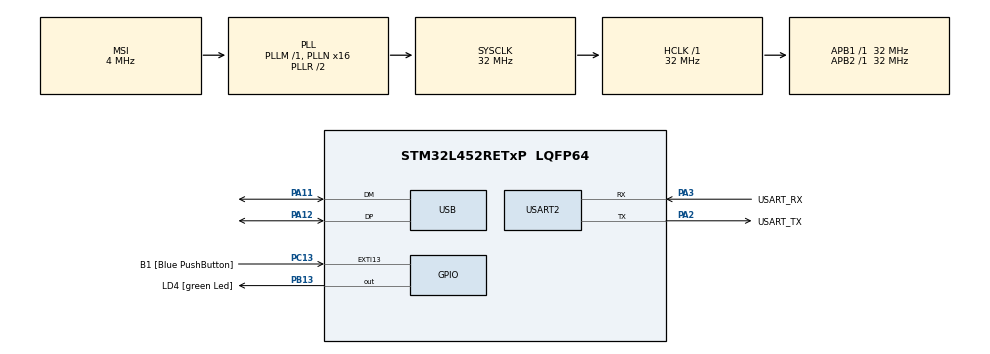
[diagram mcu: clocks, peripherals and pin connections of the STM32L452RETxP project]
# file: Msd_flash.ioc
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Mcu.Family=STM32L4
Mcu.Name=STM32L452RETxP
Mcu.Package=LQFP64
NVIC.PriorityGroup=NVIC_PRIORITYGROUP_4
NVIC.USB_IRQn=true\:0\:0\:false\:false\:true\:false
PA11.Mode=Device
PA11.Signal=USB_DM
PA12.Mode=Device
PA12.Signal=USB_DP
PA13\ (JTMS/SWDIO).GPIO_Label=TMS
PA13\ (JTMS/SWDIO).Mode=Serial_Wire
PA13\ (JTMS/SWDIO).Signal=SYS_JTMS-SWDIO
PA14\ (JTCK/SWCLK).GPIO_Label=TCK
PA14\ (JTCK/SWCLK).Mode=Serial_Wire
PA14\ (JTCK/SWCLK).Signal=SYS_JTCK-SWCLK
PA2.GPIO_Label=USART_TX
PA2.GPIO_Mode=GPIO_MODE_AF_PP
PA2.GPIO_PuPd=GPIO_NOPULL
PA2.GPIO_Speed=GPIO_SPEED_FREQ_VERY_HIGH
PA2.Mode=Asynchronous
PA2.Signal=USART2_TX
PA3.GPIO_Label=USART_RX
PA3.GPIO_Mode=GPIO_MODE_AF_PP
PA3.GPIO_PuPd=GPIO_NOPULL
PA3.GPIO_Speed=GPIO_SPEED_FREQ_VERY_HIGH
PA3.Mode=Asynchronous
PA3.Signal=USART2_RX
PB13.GPIO_Label=LD4 [green Led]
PB13.Signal=GPIO_Output
PB3\ (JTDO/TRACESWO).GPIO_Label=SWO
PB3\ (JTDO/TRACESWO).Signal=SYS_JTDO-SWO
PC13.GPIO_Label=B1 [Blue PushButton]
PC13.GPIO_ModeDefaultEXTI=GPIO_MODE_IT_FALLING
PC13.GPIO_PuPd=GPIO_NOPULL
PC13.Signal=GPXTI13
PC14-OSC32_IN\ (PC14).Mode=LSE-External-Oscillator
PC14-OSC32_IN\ (PC14).Signal=RCC_OSC32_IN
PC15-OSC32_OUT\ (PC15).Mode=LSE-External-Oscillator
PC15-OSC32_OUT\ (PC15).Signal=RCC_OSC32_OUT
ProjectManager.HeapSize=0x800
ProjectManager.StackSize=0x1000
ProjectManager.TargetToolchain=TrueSTUDIO
RCC.ADCFreq_Value=48000000
RCC.AHBFreq_Value=32000000
RCC.APB1Freq_Value=32000000
RCC.APB1TimFreq_Value=32000000
RCC.APB2Freq_Value=32000000
RCC.APB2TimFreq_Value=32000000
RCC.CortexFreq_Value=32000000
RCC.HCLKFreq_Value=32000000
RCC.HSE_VALUE=8000000
RCC.HSI48_VALUE=48000000
RCC.HSI_VALUE=16000000
RCC.MSI_VALUE=4000000
RCC.PLLN=16
RCC.PLLSAI1N=24
RCC.PREFETCH_ENABLE=1
RCC.SYSCLKFreq_VALUE=32000000
RCC.SYSCLKSource=RCC_SYSCLKSOURCE_PLLCLK
RCC.USBFreq_Value=48000000
RCC.VCOOutputFreq_Value=64000000
USART2.Parity=PARITY_EVEN
USART2.VirtualMode-Asynchronous=VM_ASYNC
USB_DEVICE.CLASS_NAME_FS=MSC
USB_DEVICE.MANUFACTURER_STRING=VNIIA
USB_DEVICE.MSC_MEDIA_PACKET=512
USB_DEVICE.VirtualMode=Msc
USB_DEVICE.VirtualModeFS=Msc_FS
VP_FATFS_VS_Generic.Mode=User_defined
VP_USB_DEVICE_VS_USB_DEVICE_MSC_FS.Mode=MSC_FS
board=NUCLEO-L452RE-P

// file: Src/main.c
/* USER CODE BEGIN Header */
/**
  ******************************************************************************
  * @file           : main.c
  * @brief          : Main program body
  ******************************************************************************
  * This notice applies to any and all portions of this file
  * that are not between comment pairs USER CODE BEGIN and
  * USER CODE END. Other portions of this file, whether
  * inserted by the user or by software development tools
  * are owned by their respective copyright owners.
  *
  * Copyright (c) 2019 STMicroelectronics International N.V.
  * All rights reserved.
  *
  * Redistribution and use in source and binary forms, with or without
  * modification, are permitted, provided that the following conditions are met:
  *
  * 1. Redistribution of source code must retain the above copyright notice,
  *    this list of conditions and the following disclaimer.
  * 2. Redistributions in binary form must reproduce the above copyright notice,
  *    this list of conditions and the following disclaimer in the documentation
  *    and/or other materials provided with the distribution.
  * 3. Neither the name of STMicroelectronics nor the names of other
  *    contributors to this software may be used to endorse or promote products
  *    derived from this software without specific written permission.
  * 4. This software, including modifications and/or derivative works of this
  *    software, must execute solely and exclusively on microcontroller or
  *    microprocessor devices manufactured by or for STMicroelectronics.
  * 5. Redistribution and use of this software other than as permitted under
  *    this license is void and will automatically terminate your rights under
  *    this license.
  *
  * THIS SOFTWARE IS PROVIDED BY STMICROELECTRONICS AND CONTRIBUTORS "AS IS"
  * AND ANY EXPRESS, IMPLIED OR STATUTORY WARRANTIES, INCLUDING, BUT NOT
  * LIMITED TO, THE IMPLIED WARRANTIES OF MERCHANTABILITY, FITNESS FOR A
  * PARTICULAR PURPOSE AND NON-INFRINGEMENT OF THIRD PARTY INTELLECTUAL PROPERTY
  * RIGHTS ARE DISCLAIMED TO THE FULLEST EXTENT PERMITTED BY LAW. IN NO EVENT
  * SHALL STMICROELECTRONICS OR CONTRIBUTORS BE LIABLE FOR ANY DIRECT, INDIRECT,
  * INCIDENTAL, SPECIAL, EXEMPLARY, OR CONSEQUENTIAL DAMAGES (INCLUDING, BUT NOT
  * LIMITED TO, PROCUREMENT OF SUBSTITUTE GOODS OR SERVICES; LOSS OF USE, DATA,
  * OR PROFITS; OR BUSINESS INTERRUPTION) HOWEVER CAUSED AND ON ANY THEORY OF
  * LIABILITY, WHETHER IN CONTRACT, STRICT LIABILITY, OR TORT (INCLUDING
  * NEGLIGENCE OR OTHERWISE) ARISING IN ANY WAY OUT OF THE USE OF THIS SOFTWARE,
  * EVEN IF ADVISED OF THE POSSIBILITY OF SUCH DAMAGE.
  *
  ******************************************************************************
  */
/* USER CODE END Header */

#include "main.h"
#include "fatfs.h"
#include "usart.h"
#include "usb_device.h"
#include "gpio.h"

/* USER CODE BEGIN Includes */
#include "flash_work.h"
/* USER CODE END Includes */

void SystemClock_Config(void);
/* USER CODE BEGIN PFP */
void CopyAppToUserMemory(void);
void JumpToMainProgram(void);
void PeriphDeinit(void);
/* USER CODE END PFP */

/* USER CODE BEGIN 0 */
char str[80] = {0};
FRESULT FatFs_Status = FR_OK;
FSIZE_t appSize = 0;
uint8_t AppDataByte[512] = {0};
UINT readBytes = 0;
/* USER CODE END 0 */

int main(void)
{
  /* USER CODE BEGIN 1 */
int i=0;
  /* USER CODE END 1 */

  /* MCU Configuration--------------------------------------------------------*/

  /* Reset of all peripherals, Initializes the Flash interface and the Systick. */
  HAL_Init();

  /* Configure the system clock */
  SystemClock_Config();

  /* Initialize all configured peripherals */
  MX_GPIO_Init();
  MX_USART2_UART_Init();

  /* USER CODE BEGIN 2 */
  sprintf (str, "-----START LOG----- \n\r\n\r");
  HAL_UART_Transmit (&huart2, (uint8_t*)str, strlen(str), 1000);

  sprintf (str, "FLASH_START_ADDR: %#x \n\r", FLASH_START_ADDR);
  HAL_UART_Transmit (&huart2, (uint8_t*)str, strlen(str), 1000);
  sprintf (str, "FLASH_MAX_SIZE: %dKByte \n\r", FLASH_MAX_SIZE/1024);
  HAL_UART_Transmit (&huart2, (uint8_t*)str, strlen(str), 1000);
  sprintf (str, "BOOT_START_ADDR: %#x \n\r", FLASH_BOOT_START_ADDR);
  HAL_UART_Transmit (&huart2, (uint8_t*)str, strlen(str), 1000);
  sprintf (str, "BOOT_MEM_SIZE: %dKByte \n\r", FLASH_BOOT_SIZE/1024);
  HAL_UART_Transmit (&huart2, (uint8_t*)str, strlen(str), 1000);
  sprintf (str, "USER_START_ADDR: %#x \n\r", FLASH_USER_START_ADDR);
  HAL_UART_Transmit (&huart2, (uint8_t*)str, strlen(str), 1000);
  sprintf (str, "USER_MEM_SIZE: %dKByte \n\r", FLASH_USER_SIZE/1024);
  HAL_UART_Transmit (&huart2, (uint8_t*)str, strlen(str), 1000);
  sprintf (str, "FLASH_MSD_START_ADDR: %#x \n\r", FLASH_MSD_START_ADDR);
  HAL_UART_Transmit (&huart2, (uint8_t*)str, strlen(str), 1000);
  sprintf (str, "MSD_MEM_SIZE: %dKByte \n\r", FLASH_MSD_SIZE/1024);
  HAL_UART_Transmit (&huart2, (uint8_t*)str, strlen(str), 1000);
  sprintf (str, "OTHER_START_ADDR: %#x \n\r", FLASH_OTHER_START_ADDR);
  HAL_UART_Transmit (&huart2, (uint8_t*)str, strlen(str), 1000);
  sprintf (str, "OTHER_MEM_SIZE: %dKByte \n\r\n\r", FLASH_OTHER_SIZE/1024);
  HAL_UART_Transmit (&huart2, (uint8_t*)str, strlen(str), 1000);

  /* USER CODE END 2 */

  /* Infinite loop */
  /* USER CODE BEGIN WHILE */
  while (1)
  {

/*---------------------- Mass storage device Mode----------------------- */
	  	  	if (HAL_GPIO_ReadPin(B1_GPIO_Port,B1_Pin) == GPIO_PIN_SET)  //Кнопка нажата, режим MSD
	  	  	{
	  	  		printf ("MSD Mode... \n");
	  	     	HAL_UART_Transmit (&huart2, (uint8_t*)"MSD Mode... \n\r", strlen("MSD Mode... \n\r"), 1000);

	  	  		MX_USB_DEVICE_Init();
	  	  		while (1);
	  	  	}

/*-----------------------Bootloader Mode---------------------------------*/
   sprintf (str, "BOOTLOADER Mode... \n\r");
   HAL_UART_Transmit (&huart2, (uint8_t*)str, strlen(str), 1000);

   MX_FATFS_Init(); // Init FatFs

   FatFs_Status = f_mount(&USERFatFS, (TCHAR const*)USERPath, 0);
   if(FatFs_Status == FR_OK)
   {
	   sprintf (str, "FatFs mount status = %s \n\r", "FR_OK");
	   HAL_UART_Transmit (&huart2, (uint8_t*)str, strlen(str), 1000);

	   FatFs_Status = f_open(&USERFile, "APP.bin", FA_READ);
	   if(FatFs_Status == FR_OK)
	   {
		   sprintf (str, "Application file open status = %s \n\r", "FR_OK");
		   HAL_UART_Transmit (&huart2, (uint8_t*)str, strlen(str), 1000);

		   appSize = f_size(&USERFile);

		   sprintf (str, "Application file size = %lu \n\r", appSize);
		   HAL_UART_Transmit (&huart2, (uint8_t*)str, strlen(str), 1000);

		   for(i = 0; i < appSize; i++) //Byte-to-byte compare files in MSD_MEM and USER_MEM
		   {
			   f_read(&USERFile, AppDataByte, 1, &readBytes);
			   if(*((volatile uint8_t*)(FLASH_USER_START_ADDR + i)) != AppDataByte[0]) break;
		   }
		   if (i != appSize) //=> was done "break" instruction in for(;;) cycle => new firmware in MSD_FLASH
		   {
			i=0;
			sprintf (str, "Find difference in  %d byte \n\r\n\r", i);
			HAL_UART_Transmit (&huart2, (uint8_t*)str, strlen(str), 1000);

		    CopyAppToUserMemory();
		   }
		   else
		   {
			sprintf (str, "Versions of firmwares are the same. No update required.\n\r");
			HAL_UART_Transmit (&huart2, (uint8_t*)str, strlen(str), 1000);
		   }

		   FatFs_Status = f_close(&USERFile);
		   if  (FatFs_Status == FR_OK)
		   {
			   sprintf (str, "Application file close status = %s \n\r", "FR_OK");
			   HAL_UART_Transmit (&huart2, (uint8_t*)str, strlen(str), 1000);
		   }
		   else
		   {
			   sprintf (str, "Application file close status = %s \n\r", "ERROR");
			   HAL_UART_Transmit (&huart2, (uint8_t*)str, strlen(str), 1000);
		   }

		   FatFs_Status = f_mount(0, (TCHAR const*)USERPath, 0);
		   if  (FatFs_Status == FR_OK)
		   {
			   sprintf (str, "FatFs unmount status = %s \n\r\n\r", "FR_OK");
			   HAL_UART_Transmit (&huart2, (uint8_t*)str, strlen(str), 1000);
		   }
		   else
		   {
			   sprintf (str, "FatFs unmount status = %s \n\r\n\r", "ERROR");
			   HAL_UART_Transmit (&huart2, (uint8_t*)str, strlen(str), 1000);
		   }

	   }
	   else
	   {
		   sprintf (str, "Application file open status = %s \n\r", "ERROR");
		   HAL_UART_Transmit (&huart2, (uint8_t*)str, strlen(str), 1000);
		   FatFs_Status = f_mount(0, (TCHAR const*)USERPath, 0);
	   }
   }
   else
   {
	   sprintf (str, "FatFs mount status = %s \n\r", "ERROR");
	   HAL_UART_Transmit (&huart2, (uint8_t*)str, strlen(str), 1000);
   }

	sprintf (str, "Peripheral deinit and go to main programm \n\r\n\r");
	HAL_UART_Transmit (&huart2, (uint8_t*)str, strlen(str), 1000);
	PeriphDeinit();      //Periphery deinit

	JumpToMainProgram(); //Go to main programm*/

    /* USER CODE END WHILE */

  }
}

void SystemClock_Config(void)
{
  RCC_OscInitTypeDef RCC_OscInitStruct = {0};
  RCC_ClkInitTypeDef RCC_ClkInitStruct = {0};
  RCC_PeriphCLKInitTypeDef PeriphClkInit = {0};

  /**Configure LSE Drive Capability
  */
  HAL_PWR_EnableBkUpAccess();
  __HAL_RCC_LSEDRIVE_CONFIG(RCC_LSEDRIVE_LOW);
  /**Initializes the CPU, AHB and APB busses clocks
  */
  RCC_OscInitStruct.OscillatorType = RCC_OSCILLATORTYPE_LSE|RCC_OSCILLATORTYPE_MSI;
  RCC_OscInitStruct.LSEState = RCC_LSE_ON;
  RCC_OscInitStruct.MSIState = RCC_MSI_ON;
  RCC_OscInitStruct.MSICalibrationValue = 0;
  RCC_OscInitStruct.MSIClockRange = RCC_MSIRANGE_6;
  RCC_OscInitStruct.PLL.PLLState = RCC_PLL_ON;
  RCC_OscInitStruct.PLL.PLLSource = RCC_PLLSOURCE_MSI;
  RCC_OscInitStruct.PLL.PLLM = 1;
  RCC_OscInitStruct.PLL.PLLN = 16;
  RCC_OscInitStruct.PLL.PLLP = RCC_PLLP_DIV7;
  RCC_OscInitStruct.PLL.PLLQ = RCC_PLLQ_DIV2;
  RCC_OscInitStruct.PLL.PLLR = RCC_PLLR_DIV2;
  if (HAL_RCC_OscConfig(&RCC_OscInitStruct) != HAL_OK)
  {
    Error_Handler();
  }
  /**Initializes the CPU, AHB and APB busses clocks
  */
  RCC_ClkInitStruct.ClockType = RCC_CLOCKTYPE_HCLK|RCC_CLOCKTYPE_SYSCLK
                              |RCC_CLOCKTYPE_PCLK1|RCC_CLOCKTYPE_PCLK2;
  RCC_ClkInitStruct.SYSCLKSource = RCC_SYSCLKSOURCE_PLLCLK;
  RCC_ClkInitStruct.AHBCLKDivider = RCC_SYSCLK_DIV1;
  RCC_ClkInitStruct.APB1CLKDivider = RCC_HCLK_DIV1;
  RCC_ClkInitStruct.APB2CLKDivider = RCC_HCLK_DIV1;

  if (HAL_RCC_ClockConfig(&RCC_ClkInitStruct, FLASH_LATENCY_1) != HAL_OK)
  {
    Error_Handler();
  }
  PeriphClkInit.PeriphClockSelection = RCC_PERIPHCLK_USART2|RCC_PERIPHCLK_USB;
  PeriphClkInit.Usart2ClockSelection = RCC_USART2CLKSOURCE_PCLK1;
  PeriphClkInit.UsbClockSelection = RCC_USBCLKSOURCE_PLLSAI1;
  PeriphClkInit.PLLSAI1.PLLSAI1Source = RCC_PLLSOURCE_MSI;
  PeriphClkInit.PLLSAI1.PLLSAI1M = 1;
  PeriphClkInit.PLLSAI1.PLLSAI1N = 24;
  PeriphClkInit.PLLSAI1.PLLSAI1P = RCC_PLLP_DIV7;
  PeriphClkInit.PLLSAI1.PLLSAI1Q = RCC_PLLQ_DIV2;
  PeriphClkInit.PLLSAI1.PLLSAI1R = RCC_PLLR_DIV2;
  PeriphClkInit.PLLSAI1.PLLSAI1ClockOut = RCC_PLLSAI1_48M2CLK;
  if (HAL_RCCEx_PeriphCLKConfig(&PeriphClkInit) != HAL_OK)
  {
    Error_Handler();
  }
  /**Configure the main internal regulator output voltage
  */
  if (HAL_PWREx_ControlVoltageScaling(PWR_REGULATOR_VOLTAGE_SCALE1) != HAL_OK)
  {
    Error_Handler();
  }
  /**Enable MSI Auto calibration
  */
  HAL_RCCEx_EnableMSIPLLMode();
}

/* USER CODE BEGIN 4 */

void JumpToMainProgram(void)
{
	uint32_t appJumpAddress=0;
	void (*GoToApp)(void);

	appJumpAddress = *(__IO uint32_t*) (FLASH_USER_START_ADDR + 4);
	GoToApp = (void (*)(void))appJumpAddress;
	SCB->VTOR = FLASH_USER_START_ADDR;
	__set_MSP(*((volatile uint32_t*) FLASH_USER_START_ADDR)); //stack pointer (to RAM) for USER app in this address
	GoToApp();

	//return 0;
}
//---------------------------------------------------------------------
void PeriphDeinit(void)
{
	//Выключить прерывания, которые были использованы или все	__disable_irq();
	FATFS_UnLinkDriver(USERPath);

	__HAL_RCC_GPIOC_CLK_DISABLE();
	__HAL_RCC_GPIOA_CLK_DISABLE();
	__HAL_RCC_GPIOB_CLK_DISABLE();
	HAL_GPIO_DeInit(B1_GPIO_Port,B1_Pin);
	HAL_GPIO_DeInit(LD4_GPIO_Port,LD4_Pin);

	HAL_UART_MspDeInit(&huart2);

	//return 0;
}

void CopyAppToUserMemory(void)
{
	uint32_t remain_bytes = 0;
	uint32_t number_of_blok = 0;
	float write_percents = 0;

	sprintf (str, "Start to copy new firmware \n\r");
	HAL_UART_Transmit (&huart2, (uint8_t*)str, strlen(str), 1000);

	f_lseek(&USERFile, 0);       // Go to the fist position of file
	appSize = f_size(&USERFile); // Bytes in file

	number_of_blok = appSize/512;
	remain_bytes =  appSize%512; // Количество оставшихся байт до 512
	if (remain_bytes != 0) number_of_blok++;
	sprintf (str, "Total cycles number = %lu. Remain bytes = %lu \n\r",number_of_blok, remain_bytes);
	HAL_UART_Transmit (&huart2, (uint8_t*)str, strlen(str), 1000);

	for (int j=0; j<number_of_blok; j++)
	{
	  f_read(&USERFile, AppDataByte, 512, &readBytes); // Read 512 byte from file
	  sprintf (str, "%d Cycle. Read %u bytes \n\r",j ,readBytes);
	  HAL_UART_Transmit (&huart2, (uint8_t*)str, strlen(str), 1000);

	  if (readBytes != 512)  // Дополнить буффер 0xFF до 512 байт
	  {
	    for (int k=0; k<(512-readBytes); k++)
	    {
	    	AppDataByte[readBytes+k] = 0xFF;
	    }
	  }

	  flash_512block_write(FLASH_USER_START_ADDR, j, AppDataByte);

	  write_percents = (((float)j+1)/number_of_blok)*100;
	  sprintf (str, "Write percents = %0.2f %% \n\r",write_percents);
	  HAL_UART_Transmit (&huart2, (uint8_t*)str, strlen(str), 1000);
	}

}
//-------------------------------------------------------------------------------------------------------------------

/* USER CODE END 4 */

void Error_Handler(void)
{
}

/************************ (C) COPYRIGHT STMicroelectronics *****END OF FILE****/
